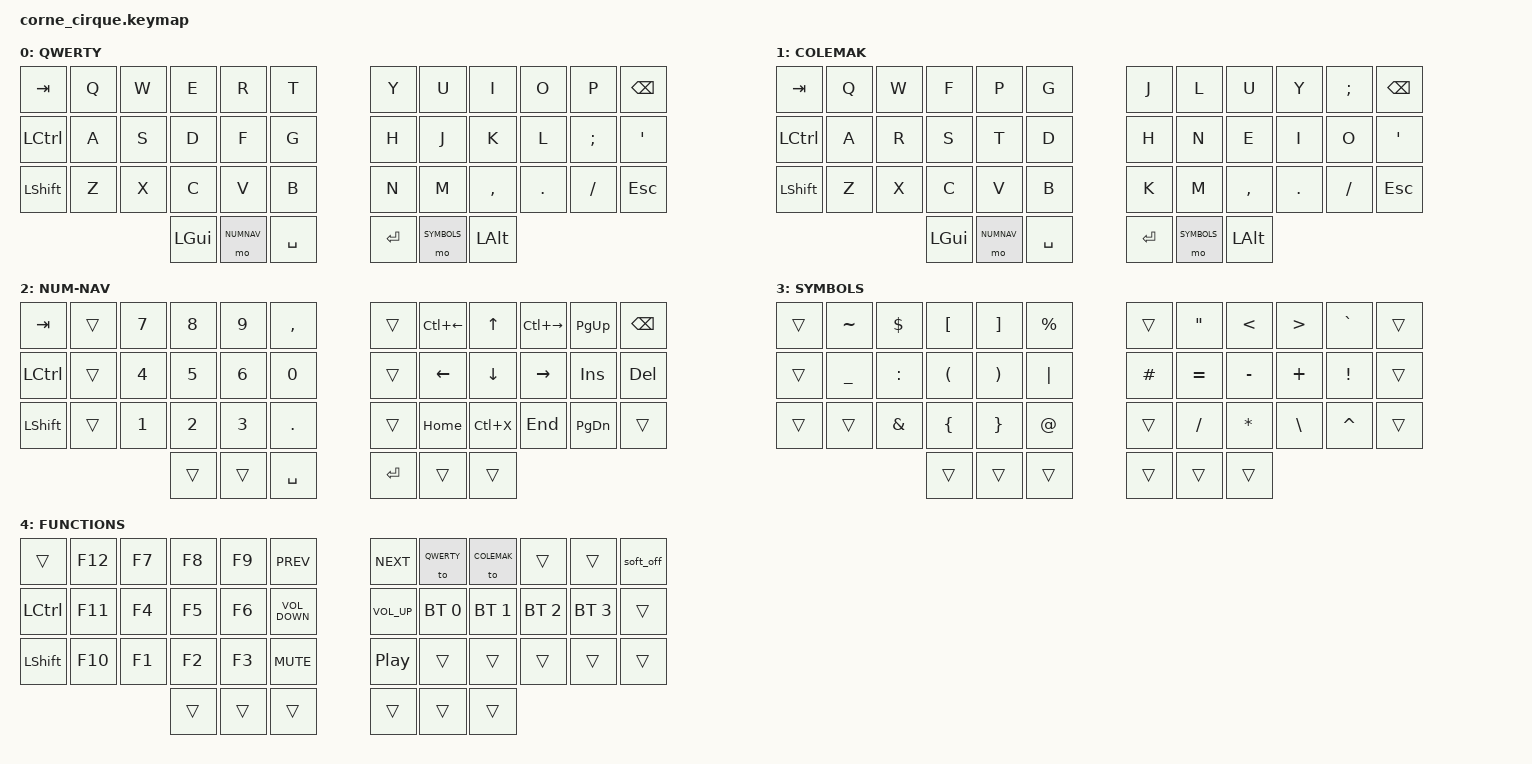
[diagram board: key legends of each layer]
/*
 * Copyright (c) 2020 The ZMK Contributors
 *
 * SPDX-License-Identifier: MIT
 */

#include <behaviors.dtsi>
#include <dt-bindings/zmk/bt.h>
#include <dt-bindings/zmk/ext_power.h>
#include <dt-bindings/zmk/keys.h>

#define DEFAULT 0
#define QWERTY 0
#define COLEMAK 1
#define NUMNAV 2
#define SYMBOLS 3
#define FUNCTIONS 4

&soft_off {
    hold-time-ms = <2000>; // Only turn off it the key is held for 2 seconds or longer.
};

/ {
    keymap {
        compatible = "zmk,keymap";

        qwerty {
            display-name = "QWERTY";

            // -----------------------------------------------------------------------------------------
            // | TAB  |  Q  |  W  |  E  |  R  |  T  |   |  Y  |  U   |  I  |  O  |  P  | BKSP |
            // |CTRL  |  A  |  S  |  D  |  F  |  G  |   |  H  |  J   |  K  |  L  |  ;  |  '   |
            // |SHFT  |  Z  |  X  |  C  |  V  |  B  |   |  N  |  M   |  ,  |  .  |  /  | ESC  |
            //                    | WIN | NUM | SPC |   | ENT | SYM  | ALT  |

            bindings = <
                &kp TAB    &kp Q  &kp W  &kp E        &kp R        &kp T        &kp Y      &kp U      &kp I         &kp O        &kp P          &kp BACKSPACE
                &kp LCTRL  &kp A  &kp S  &kp D        &kp F        &kp G        &kp H      &kp J      &kp K         &kp L        &kp SEMICOLON  &kp SQT
                &kp LSHFT  &kp Z  &kp X  &kp C        &kp V        &kp B        &kp N      &kp M      &kp COMMA     &kp PERIOD   &kp SLASH      &kp ESCAPE
                                         &kp LEFT_GUI &mo NUMNAV   &kp SPACE    &kp ENTER  &mo SYMBOLS      &kp LEFT_ALT
            >;
        };

        colemak {
            display-name = "COLEMAK";

            // -----------------------------------------------------------------------------------------
            // | TAB  |  Q  |  W  |  F  |  P  |  G  |   |  J  |  L   |  U  |  Y  |  ;  | BKSP |
            // |CTRL  |  A  |  R  |  S  |  T  |  D  |   |  H  |  N   |  E  |  I  |  O  |  '   |
            // |SHFT  |  Z  |  X  |  C  |  V  |  B  |   |  K  |  M   |  ,  |  .  |  /  | ESC  |
            //                    | WIN | NUM | SPC |   | ENT | SYM  | ALT  |

            bindings = <
                &kp TAB    &kp Q  &kp W  &kp F        &kp P        &kp G        &kp J      &kp L      &kp U         &kp Y        &kp SEMICOLON  &kp BACKSPACE
                &kp LCTRL  &kp A  &kp R  &kp S        &kp T        &kp D        &kp H      &kp N      &kp E         &kp I        &kp O          &kp SQT
                &kp LSHFT  &kp Z  &kp X  &kp C        &kp V        &kp B        &kp K      &kp M      &kp COMMA     &kp PERIOD   &kp SLASH      &kp ESCAPE
                                         &kp LEFT_GUI &mo NUMNAV   &kp SPACE    &kp ENTER  &mo SYMBOLS      &kp LEFT_ALT
            >;
        };

        num-nav {
            display-name = "NUM-NAV";

            // -----------------------------------------------------------------------------------------
            // | TAB  |  ---  |  7  |  8  |  9  |  ,  |   | --- | C+← |  UP | C+→ | PGUP |  BKSP |
            // | CTRL | ---   |  4  |  5  |  6  |  0  |   | --- | LFT | DWN | RGT | INS  | DEL |
            // | SHFT  | ---  |  1  |  2  |  3  |  .  |   | --- | HOM | C+X | END | PGDN | ---  |
            //                      | --- | --- | SPC |   | RET | --- | --- |

            bindings = <
                &kp TAB     &trans  &kp N7        &kp N8        &kp N9        &kp COMMA  &trans  &kp LC(LEFT)    &kp UP    &kp LC(RIGHT)  &kp PAGE_UP    &kp BACKSPACE
                &kp LCTRL   &trans  &kp NUMBER_4  &kp N5        &kp NUMBER_6  &kp N0     &trans  &kp LEFT_ARROW  &kp DOWN  &kp RIGHT      &kp INS        &kp DELETE
                &kp LSHFT   &trans  &kp NUMBER_1  &kp NUMBER_2  &kp NUMBER_3  &kp PERIOD &trans  &kp HOME        &kp LC(X) &kp END        &kp PAGE_DOWN  &trans
                                                  &trans        &trans        &kp SPACE  &kp RET &trans          &trans
            >;
        };

        sym {
            display-name = "SYMBOLS";
            
            // -----------------------------------------------------------------------------------------
            // | --- |  ~  |  $  |  [  |  ]  |  %  |   | --- |  "  |  <  |  >  |  `  | --- |
            // | --- |  _  |  :  |  (  |  )  |  |  |   |  #  |  =  |  -  |  +  |  !  | --- |
            // | --- | --- |  &  |  {  |  }  |  @  |   | --- |  /  |  *  |  \  |  ^  | --- |
            //                   | --- | --- | --- |   | --- | --- | --- |
            
            bindings = <
                &trans  &kp TILDE  &kp DOLLAR     &kp LEFT_BRACKET      &kp RIGHT_BRACKET      &kp PERCENT  &trans  &kp DOUBLE_QUOTES  &kp LESS_THAN  &kp GREATER_THAN  &kp GRAVE        &trans
                &trans  &kp UNDER  &kp COLON      &kp LEFT_PARENTHESIS  &kp RIGHT_PARENTHESIS  &kp PIPE     &kp HASH &kp EQUAL         &kp MINUS      &kp PLUS          &kp EXCLAMATION  &trans
                &trans  &trans     &kp AMPERSAND  &kp LEFT_BRACE        &kp RIGHT_BRACE        &kp AT_SIGN  &trans   &kp SLASH         &kp ASTERISK   &kp BACKSLASH     &kp CARET        &trans
                                                  &trans                &trans                 &trans       &trans   &trans            &trans
            >;
        };

        fun {
            display-name = "FUNCTIONS";
            
            // -----------------------------------------------------------------------------------------
            // | --- | F12 | F7  | F8  | F9  |PREV |   |NEXT | QWERTY | COLEMAK | --- | --- | OFF|
            // |CTRL | F11 | F4  | F5  | F6  | V- |   | V+ | BT0 | BT1 | BT2 | BT3 | --- |
            // |SHFT | F10 | F1  | F2  | F3  |MUTE|   |PLAY| --- | --- | --- | --- | --- |
            //                   | --- | --- | --- |   | --- | --- | --- |
            
            bindings = <
                &trans     &kp F12  &kp F7  &kp F8  &kp F9  &kp C_PREV        &kp C_NEXT        &to QWERTY        &to COLEMAK        &trans        &trans        &soft_off
                &kp LCTRL  &kp F11  &kp F4  &kp F5  &kp F6  &kp C_VOLUME_DOWN &kp C_VOLUME_UP   &bt BT_SEL 0  &bt BT_SEL 1  &bt BT_SEL 2  &bt BT_SEL 3  &trans
                &kp LSHFT  &kp F10  &kp F1  &kp F2  &kp F3  &kp C_MUTE        &kp C_PLAY_PAUSE  &trans        &trans        &trans        &trans        &trans
                                            &trans  &trans  &trans            &trans            &trans        &trans
            >;
        };
    };

    conditional_layers {
        compatible = "zmk,conditional-layers";
        function-layer {
            if-layers = <NUMNAV SYMBOLS>;
            then-layer = <FUNCTIONS>;
        };
    };
};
